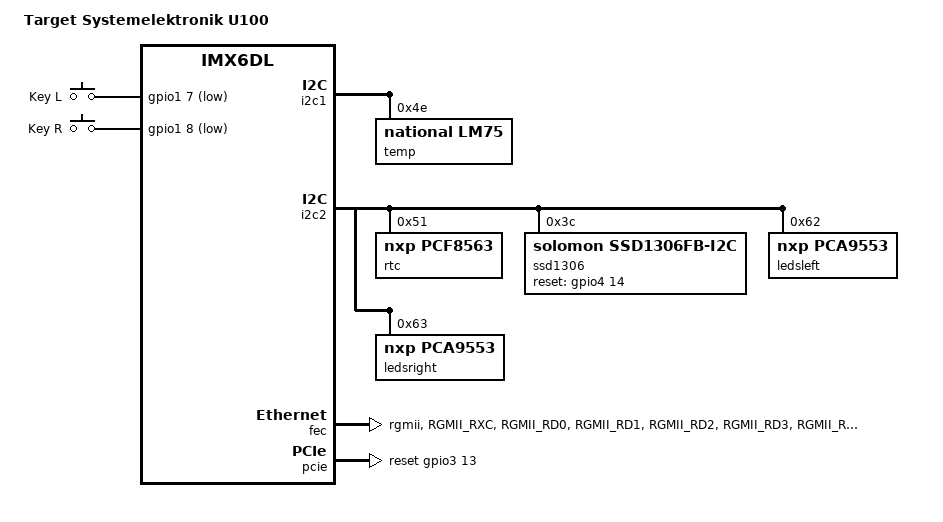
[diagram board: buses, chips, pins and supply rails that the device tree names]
/dts-v1/;
#include "imx6dl-trizeps7.dtsi"

/ {
	model = "Target Systemelektronik U100";

	gpio-keys {
		compatible = "gpio-keys";
		status = "ok";
		pinctrl-names = "default";
		pinctrl-0 = <&pinctrl_gpio_keys>;

		left {
			label = "Key L";
			gpios = <&gpio1 7 GPIO_ACTIVE_LOW>;
			linux,code = <KEY_L>;
		};
		right {
			label = "Key R";
			gpios = <&gpio1 8 GPIO_ACTIVE_LOW>;
			linux,code = <KEY_R>;
		};
	};
};

&iomuxc {
	u100 {
		pinctrl_gpio_keys: gpio_keysgrp {
			fsl,pins = <
				MX6QDL_PAD_GPIO_7__GPIO1_IO07	0x80000000
				MX6QDL_PAD_GPIO_8__GPIO1_IO08	0x80000000
			>;
		};
		pinctrl_solomon: solomon {
			fsl,pins = <
				MX6QDL_PAD_KEY_COL4__GPIO4_IO14	0x80000000
			>;
		};

 		pinctrl_enet_4_rgmii: enetgrp-4-rgmii {
			fsl,pins = <
				MX6QDL_PAD_RGMII_RXC__RGMII_RXC		0x1b0b0
				MX6QDL_PAD_RGMII_RD0__RGMII_RD0		0x1b0b0
				MX6QDL_PAD_RGMII_RD1__RGMII_RD1		0x1b0b0
				MX6QDL_PAD_RGMII_RD2__RGMII_RD2		0x1b0b0
				MX6QDL_PAD_RGMII_RD3__RGMII_RD3		0x1b0b0
				MX6QDL_PAD_RGMII_RX_CTL__RGMII_RX_CTL	0x1b0b0
				MX6QDL_PAD_RGMII_TXC__RGMII_TXC		0x1b0b0
				MX6QDL_PAD_RGMII_TD0__RGMII_TD0		0x1b0b0
				MX6QDL_PAD_RGMII_TD1__RGMII_TD1		0x1b0b0
				MX6QDL_PAD_RGMII_TD2__RGMII_TD2		0x1b0b0
				MX6QDL_PAD_RGMII_TD3__RGMII_TD3		0x1b0b0
				MX6QDL_PAD_RGMII_TX_CTL__RGMII_TX_CTL	0x1b0b0
				MX6QDL_PAD_ENET_REF_CLK__ENET_TX_CLK	0x1b0b0
				MX6QDL_PAD_ENET_MDIO__ENET_MDIO		0x1b0b0
				MX6QDL_PAD_ENET_MDC__ENET_MDC		0x1b0b0
				MX6QDL_PAD_GPIO_16__ENET_REF_CLK	0x4001b0a8
			>;
		};
	};
};

&i2c1 {
	status = "okay";
	temp: temp@4E {
		compatible = "national,lm75";
		reg = <0x4E>;
		status = "okay";
	};
	/* No driver in 3.14.28 (backport?)
	accel: accel@1C {
		compatible = "fsl,mma8452";
		reg = <0x1C>;
		status = "okay";
	};*/
};
&i2c2 {
	rtc: rtc@51 {
		compatible = "nxp,pcf8563";
		reg = <0x51>;
		status = "okay";
	};
	ssd1306: ssd1306@3C {
		compatible = "solomon,ssd1306fb-i2c";
		reg = <0x3C>;
		status = "okay";
		solomon,height = <32>;
		solomon,width = <128>;
		reset-gpios = <&gpio4 14 GPIO_ACTIVE_HIGH>;
		pinctrl-names = "default";
		pinctrl-0 = <&pinctrl_solomon>;
	};
	ledsleft: pca9553@62 {
		compatible = "nxp,pca9553";
		reg = < 0x62 >;
	};
	ledsright: pca9553@63 {
		compatible = "nxp,pca9553";
		reg = < 0x63 >;
	};
};

&fec {
	pinctrl-0 = <&pinctrl_enet_4_rgmii>;
	phy-mode = "rgmii";
	status = "okay";
};

&pcie {
	status = "okay";
	reset-gpio = <&gpio3 13 0>;
	wake-up-gpio = <&gpio6 7 0>;
};
